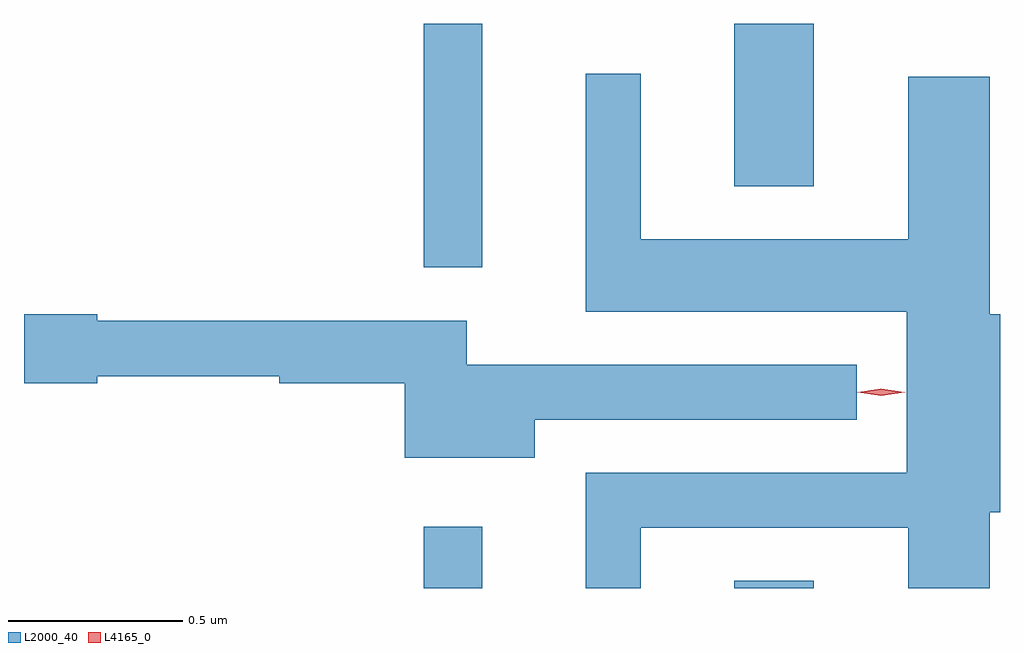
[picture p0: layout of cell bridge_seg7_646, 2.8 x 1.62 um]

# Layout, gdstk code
import gdstk
lib = gdstk.Library(unit=1e-6, precision=1e-09)
def R(c, l, rs):  # rectangles x0, y0, x1, y1
    for r in rs: c.add(gdstk.rectangle(r[:2], r[2:], *l))
def P(c, l, *ps):  # polygons
    for p in ps: c.add(gdstk.Polygon(p, *l))
L2000_40 = (2000, 40)
L4165_0 = (4165, 0)

bridge_seg7_646 = lib.new_cell('bridge_seg7_646')
R(bridge_seg7_646, L2000_40, [(877.281,1668.252,877.449,1668.428), (878.171,1668.252,878.399,1668.274), (877.281,1669.173,877.449,1669.872), (878.171,1669.406,878.399,1669.872)])
P(bridge_seg7_646, L2000_40, [(877.904,1668.426),(878.671,1668.426),(878.671,1668.252),(878.904,1668.252),(878.904,1668.471),(878.934,1668.471),(878.934,1669.039),(878.904,1669.039),(878.904,1669.719),(878.671,1669.719),(878.671,1669.254),(877.904,1669.254),(877.904,1669.728),(877.746,1669.728),(877.746,1669.046),(878.666,1669.046),(878.666,1668.584),(877.746,1668.584),(877.746,1668.252),(877.904,1668.252)],
  [(877.599,1668.736),(878.523,1668.736),(878.523,1668.894),(877.404,1668.894),(877.404,1669.019),(876.344,1669.019),(876.344,1669.039),(876.134,1669.039),(876.134,1668.841),(876.344,1668.841),(876.344,1668.861),(876.866,1668.861),(876.866,1668.841),(877.226,1668.841),(877.226,1668.626),(877.599,1668.626)])
P(bridge_seg7_646, L4165_0, [(878.593,1668.805),(878.524,1668.814),(878.524,1668.815),(878.524,1668.815),(878.593,1668.825),(878.661,1668.815),(878.662,1668.815),(878.661,1668.814)],
  [(878.592,1668.805),(878.527,1668.814),(878.527,1668.815),(878.527,1668.815),(878.592,1668.825),(878.657,1668.815),(878.657,1668.815),(878.657,1668.814)])

lib.write_gds('bridge_seg7_646.gds')
